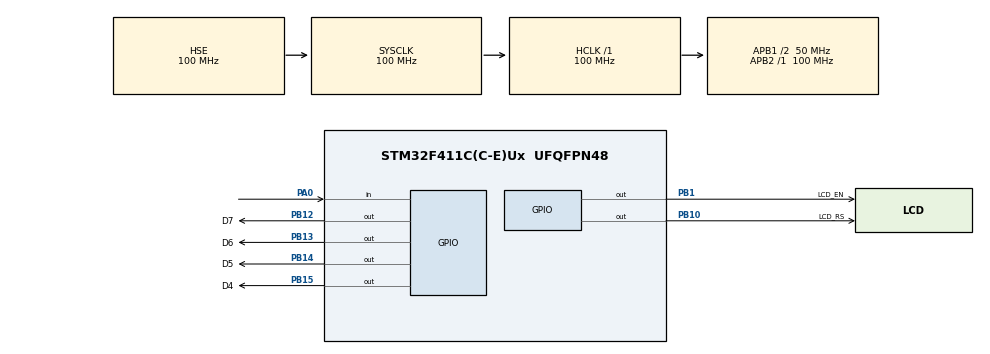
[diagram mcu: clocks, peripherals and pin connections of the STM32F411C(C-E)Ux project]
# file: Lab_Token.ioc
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Mcu.Family=STM32F4
Mcu.Name=STM32F411C(C-E)Ux
Mcu.Package=UFQFPN48
NVIC.PriorityGroup=NVIC_PRIORITYGROUP_4
PA0-WKUP.Signal=GPIO_Input
PA13.Mode=Serial_Wire
PA13.Signal=SYS_JTMS-SWDIO
PA14.Mode=Serial_Wire
PA14.Signal=SYS_JTCK-SWCLK
PB1.GPIO_Label=LCD_EN
PB1.Signal=GPIO_Output
PB10.GPIO_Label=LCD_RS
PB10.Signal=GPIO_Output
PB12.GPIO_Label=D7
PB12.Signal=GPIO_Output
PB13.GPIO_Label=D6
PB13.Signal=GPIO_Output
PB14.GPIO_Label=D5
PB14.Signal=GPIO_Output
PB15.GPIO_Label=D4
PB15.Signal=GPIO_Output
PH0\ -\ OSC_IN.Mode=HSE-External-Oscillator
PH0\ -\ OSC_IN.Signal=RCC_OSC_IN
PH1\ -\ OSC_OUT.Mode=HSE-External-Oscillator
PH1\ -\ OSC_OUT.Signal=RCC_OSC_OUT
ProjectManager.HeapSize=0x200
ProjectManager.StackSize=0x400
ProjectManager.TargetToolchain=STM32CubeIDE
RCC.48MHZClocksFreq_Value=300000000
RCC.AHBFreq_Value=100000000
RCC.APB1CLKDivider=RCC_HCLK_DIV2
RCC.APB1Freq_Value=50000000
RCC.APB1TimFreq_Value=100000000
RCC.APB2Freq_Value=100000000
RCC.APB2TimFreq_Value=100000000
RCC.CortexFreq_Value=100000000
RCC.HCLKFreq_Value=100000000
RCC.HSE_VALUE=100000000
RCC.HSI_VALUE=16000000
RCC.LSE_VALUE=32768
RCC.PLLSourceVirtual=RCC_PLLSOURCE_HSE
RCC.SYSCLKFreq_VALUE=100000000
RCC.SYSCLKSource=RCC_SYSCLKSOURCE_HSE
RCC.VCOOutputFreq_Value=1200000000
TIM2.Prescaler=45799
VP_TIM2_VS_ClockSourceINT.Mode=Internal
board=custom

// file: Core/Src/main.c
/* USER CODE BEGIN Header */
/**
  ******************************************************************************
  * @file           : main.c
  * @brief          : Main program body
  ******************************************************************************
  * @attention
  *
  * Copyright (c) 2024 STMicroelectronics.
  * All rights reserved.
  *
  * This software is licensed under terms that can be found in the LICENSE file
  * in the root directory of this software component.
  * If no LICENSE file comes with this software, it is provided AS-IS.
  *
  ******************************************************************************
  */
/* USER CODE END Header */
#include "main.h"

/* USER CODE BEGIN Includes */
#include "lcd.h"
/* USER CODE END Includes */

TIM_HandleTypeDef htim2;

/* USER CODE BEGIN PV */

uint32_t valor_del_counter;
LCD_t lcd;
uint32_t estado;
uint32_t clave = 0xF10ABCD0; // Clave
uint32_t token;
uint32_t tiempo_anterior = 0;
/* USER CODE END PV */

void SystemClock_Config(void);
static void MX_GPIO_Init(void);
static void MX_TIM2_Init(void);

/* USER CODE BEGIN 0 */

// Función para verificar si se detecta el recuadro blanco
uint8_t seDetectoCuadroBlanco(void) {
	estado =HAL_GPIO_ReadPin(GPIOA, GPIO_PIN_0);
    return HAL_GPIO_ReadPin(GPIOA, GPIO_PIN_0); // Cambiar según tu configuración real
}

// Función para calcular el TOKEN basado en el valor del contador y la clave
uint32_t calcularToken(uint32_t valor_del_counter, uint32_t clave) {
    return valor_del_counter ^ clave;
}

void lcd_mostrar_token(token) {
    char buffer[16]; // Buffer para convertir el token a una cadena de caracteres
    sprintf(buffer, "   TK: %lx", token); // Convertir el token a una cadena de caracteres en hexadecimal
    lcd_clear(&lcd); // Limpiar la pantalla LCD
    lcd_setCursor(&lcd, 0, 0); // Establecer el cursor en la primera línea
    for (int i = 0; buffer[i] != '\0'; i++) { // Escribir cada carácter de la cadena en la pantalla LCD
        lcd_write(&lcd, buffer[i]); // Escribir el carácter en la pantalla LCD
    }
}
/* USER CODE END 0 */

int main(void)
{

  /* MCU Configuration--------------------------------------------------------*/

  /* Reset of all peripherals, Initializes the Flash interface and the Systick. */
  HAL_Init();

  /* Configure the system clock */
  SystemClock_Config();

  /* Initialize all configured peripherals */
  MX_GPIO_Init();
  MX_TIM2_Init();
  /* USER CODE BEGIN 2 */
	// LCD SETTINGS ----------------------------------------------
	lcd.RS_port = LCD_RS_GPIO_Port;
	lcd.RS_pin = LCD_RS_Pin;
	//lcd.RW_port = LCD_RW_GPIO_Port;
	//lcd.RW_pin = LCD_RW_Pin;
	lcd.EN_port = LCD_EN_GPIO_Port;
	lcd.EN_pin = LCD_EN_Pin;
	lcd.D4_port = D4_GPIO_Port;
	lcd.D4_pin = D4_Pin;
	lcd.D5_port = D5_GPIO_Port;
	lcd.D5_pin = D5_Pin;
	lcd.D6_port = D6_GPIO_Port;
	lcd.D6_pin = D6_Pin;
	lcd.D7_port = D7_GPIO_Port;
	lcd.D7_pin = D7_Pin;

	//inicializamos el LCD
	lcd_begin(&lcd, 16, 2, LCD_5x8DOTS);

	//escribimos un mensaje inicial
	lcd_setCursor(&lcd, 0, 0);
	lcd_print(&lcd, "Hola que tal");
	lcd_setCursor(&lcd, 0, 1);
	lcd_print(&lcd, "Embebidos!!");
	HAL_Delay(1500);
	lcd_noDisplay(&lcd);
	lcd_display(&lcd);
	lcd_clear(&lcd);
	lcd_home(&lcd);
	lcd_print(&lcd, "Listos");

  /* USER CODE END 2 */

  /* Infinite loop */
  /* USER CODE BEGIN WHILE */

  HAL_TIM_Base_Start_IT(&htim2);

  // Esperar la detección del recuadro blanco

          while (1)
  {
        		 while (!seDetectoCuadroBlanco());

        		       valor_del_counter = __HAL_TIM_GET_COUNTER(&htim2); // Obtener el valor actual del temporizador

        		       // Verificar si han pasado 30 segundos desde el último token generado
        		       if (valor_del_counter - tiempo_anterior >= 30000) { // 30000 cuentas = 30 segundos
        		           tiempo_anterior = valor_del_counter; // Actualizar el tiempo anterior

        		           clave = 0xF10ABCD0;
        		           // Generar un nuevo token utilizando el valor actual del temporizador como parte del cálculo
        		           token = calcularToken(valor_del_counter, clave);

        		           // Mostrar el nuevo token en la pantalla LCD
        		           lcd_mostrar_token(token);
        		           //__HAL_TIM_SET_COUNTER(&htim2, 0);
        		       }

        		       //HAL_Delay(100);

    /* USER CODE END WHILE */

  }
}

void SystemClock_Config(void)
{
  RCC_OscInitTypeDef RCC_OscInitStruct = {0};
  RCC_ClkInitTypeDef RCC_ClkInitStruct = {0};

  /** Configure the main internal regulator output voltage
  */
  __HAL_RCC_PWR_CLK_ENABLE();
  __HAL_PWR_VOLTAGESCALING_CONFIG(PWR_REGULATOR_VOLTAGE_SCALE1);

  /** Initializes the RCC Oscillators according to the specified parameters
  * in the RCC_OscInitTypeDef structure.
  */
  RCC_OscInitStruct.OscillatorType = RCC_OSCILLATORTYPE_HSE;
  RCC_OscInitStruct.HSEState = RCC_HSE_ON;
  RCC_OscInitStruct.PLL.PLLState = RCC_PLL_NONE;
  if (HAL_RCC_OscConfig(&RCC_OscInitStruct) != HAL_OK)
  {
    Error_Handler();
  }

  /** Initializes the CPU, AHB and APB buses clocks
  */
  RCC_ClkInitStruct.ClockType = RCC_CLOCKTYPE_HCLK|RCC_CLOCKTYPE_SYSCLK
                              |RCC_CLOCKTYPE_PCLK1|RCC_CLOCKTYPE_PCLK2;
  RCC_ClkInitStruct.SYSCLKSource = RCC_SYSCLKSOURCE_HSE;
  RCC_ClkInitStruct.AHBCLKDivider = RCC_SYSCLK_DIV1;
  RCC_ClkInitStruct.APB1CLKDivider = RCC_HCLK_DIV2;
  RCC_ClkInitStruct.APB2CLKDivider = RCC_HCLK_DIV1;

  if (HAL_RCC_ClockConfig(&RCC_ClkInitStruct, FLASH_LATENCY_3) != HAL_OK)
  {
    Error_Handler();
  }
}

static void MX_TIM2_Init(void)
{

  TIM_ClockConfigTypeDef sClockSourceConfig = {0};
  TIM_MasterConfigTypeDef sMasterConfig = {0};

  htim2.Instance = TIM2;
  htim2.Init.Prescaler = 45799;
  htim2.Init.CounterMode = TIM_COUNTERMODE_UP;
  htim2.Init.Period = 4294967295;
  htim2.Init.ClockDivision = TIM_CLOCKDIVISION_DIV1;
  htim2.Init.AutoReloadPreload = TIM_AUTORELOAD_PRELOAD_DISABLE;
  if (HAL_TIM_Base_Init(&htim2) != HAL_OK)
  {
    Error_Handler();
  }
  sClockSourceConfig.ClockSource = TIM_CLOCKSOURCE_INTERNAL;
  if (HAL_TIM_ConfigClockSource(&htim2, &sClockSourceConfig) != HAL_OK)
  {
    Error_Handler();
  }
  sMasterConfig.MasterOutputTrigger = TIM_TRGO_RESET;
  sMasterConfig.MasterSlaveMode = TIM_MASTERSLAVEMODE_DISABLE;
  if (HAL_TIMEx_MasterConfigSynchronization(&htim2, &sMasterConfig) != HAL_OK)
  {
    Error_Handler();
  }

}

static void MX_GPIO_Init(void)
{
  GPIO_InitTypeDef GPIO_InitStruct = {0};

  /* GPIO Ports Clock Enable */
  __HAL_RCC_GPIOH_CLK_ENABLE();
  __HAL_RCC_GPIOA_CLK_ENABLE();
  __HAL_RCC_GPIOB_CLK_ENABLE();

  /*Configure GPIO pin Output Level */
  HAL_GPIO_WritePin(GPIOB, LCD_EN_Pin|LCD_RS_Pin|D7_Pin|D6_Pin
                          |D5_Pin|D4_Pin, GPIO_PIN_RESET);

  /*Configure GPIO pin : PA0 */
  GPIO_InitStruct.Pin = GPIO_PIN_0;
  GPIO_InitStruct.Mode = GPIO_MODE_INPUT;
  GPIO_InitStruct.Pull = GPIO_NOPULL;
  HAL_GPIO_Init(GPIOA, &GPIO_InitStruct);

  /*Configure GPIO pins : LCD_EN_Pin LCD_RS_Pin D7_Pin D6_Pin
                           D5_Pin D4_Pin */
  GPIO_InitStruct.Pin = LCD_EN_Pin|LCD_RS_Pin|D7_Pin|D6_Pin
                          |D5_Pin|D4_Pin;
  GPIO_InitStruct.Mode = GPIO_MODE_OUTPUT_PP;
  GPIO_InitStruct.Pull = GPIO_NOPULL;
  GPIO_InitStruct.Speed = GPIO_SPEED_FREQ_LOW;
  HAL_GPIO_Init(GPIOB, &GPIO_InitStruct);

}

void Error_Handler(void)
{
  __disable_irq();
  while (1)
  {
  }
}
